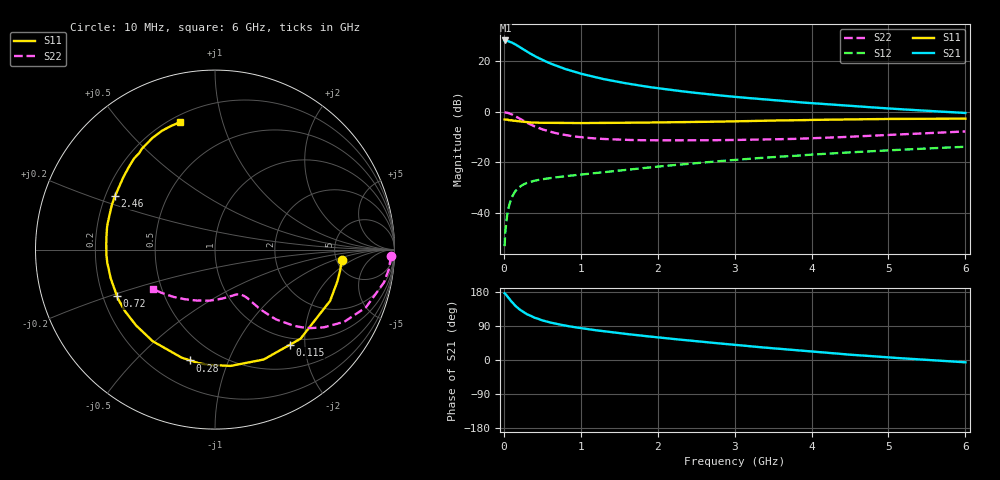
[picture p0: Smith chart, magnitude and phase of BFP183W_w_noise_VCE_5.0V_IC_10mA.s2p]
! Infineon Technologies  Discrete & RF Semiconductors
! BFP183W
! VCE = 5.0 V,  IC =  10 mA
! Common Emitter S-Parameters:  Jan 2016
# GHz  S  MA  R  50
!  f  S11  S21  S12  S22
! GHz  MAG  ANG  MAG  ANG  MAG  ANG  MAG  ANG
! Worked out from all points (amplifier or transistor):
!   210 points, 10 MHz to 6 GHz, reference 50 ohm
!   highest |S21| = 28.3 dB at 20 MHz (marker M1)
!   |S21| within 3 dB of that: start of sweep to 226.1 MHz
!   unconditionally stable (mu >= 1): 1.371 GHz to 5.376 GHz
!   at 185 MHz: K = 0.22, MSG = 28.2 dB, |S12| = -30.3 dB
!   at 1.52 GHz: K = 1.04, MAG = 16.1 dB, |S12| = -23.1 dB
!   at 6 GHz: K = 0.97, MSG = 6.7 dB, |S12| = -13.8 dB
!   lowest NFmin = 1.30 dB at 450 MHz
!   S11 on the Smith chart (normalised r, x): 10 MHz: 5.56, -1.33; 115 MHz: 0.87, -1.70; 280 MHz: 0.36, -0.74; 720 MHz: 0.26, -0.21; 2.46 GHz: 0.24, +0.24; 6 GHz: 0.24, +0.73
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0.01  0.7095 -4.8  25.92 176.2  0.0022 89.6  0.983 -2.2
0.02  0.7067 -9.6  25.95 174.4  0.0044 81.3  0.9769 -4.5
0.03  0.7045 -14.6  25.86 171.9  0.0061 83.8  0.9742 -6.6
0.055  0.696 -26.1  25.2 165.2  0.0114 77.2  0.952 -11.9
0.1  0.6883 -46.2  23.77 154.1  0.0198 68.4  0.9006 -20.9
0.115  0.6742 -52.0  23.07 151.0  0.0219 65.6  0.8757 -23.3
0.15  0.6698 -66.1  21.73 143.0  0.027 60.9  0.824 -29.3
0.2  0.6538 -82.4  19.46 134.1  0.0323 54.9  0.7456 -35.5
0.28  0.6326 -102.6  16.29 123.5  0.0381 47.4  0.6368 -42.5
0.3  0.63 -107.2  15.57 120.8  0.0393 46.0  0.6115 -44.0
0.4  0.6172 -124.3  12.75 111.6  0.0435 41.6  0.5173 -48.8
0.5  0.6097 -136.2  10.67 104.5  0.0465 39.8  0.4517 -51.4
0.6  0.6077 -145.8  9.128 99.1  0.049 38.8  0.4055 -53.2
0.72  0.6045 -154.5  7.804 93.9  0.0516 38.8  0.3672 -54.4
1.02  0.6019 -169.6  5.615 83.6  0.0579 40.2  0.3139 -57.1
1.44  0.6073 175.9  4.048 72.3  0.0677 43.2  0.285 -61.2
2.02  0.6192 161.2  2.921 59.3  0.0832 46.0  0.274 -69.1
2.46  0.6318 151.9  2.413 50.4  0.0955 46.5  0.2738 -76.7
3.1  0.6548 139.9  1.926 38.2  0.1152 45.8  0.2794 -89.1
4.1  0.6975 124.5  1.456 20.8  0.1458 42.5  0.3042 -111.7
5.1  0.7262 113.0  1.144 5.5  0.1764 37.9  0.3556 -133.1
6  0.7362 105.5  0.953 -6.1  0.2043 33.5  0.4103 -147.5
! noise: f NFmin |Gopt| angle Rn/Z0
0.45  1.3  0.15  45  0.18
0.9  1.4  0.2  125  0.19
1.8  2.1  0.34  -170  0.14
